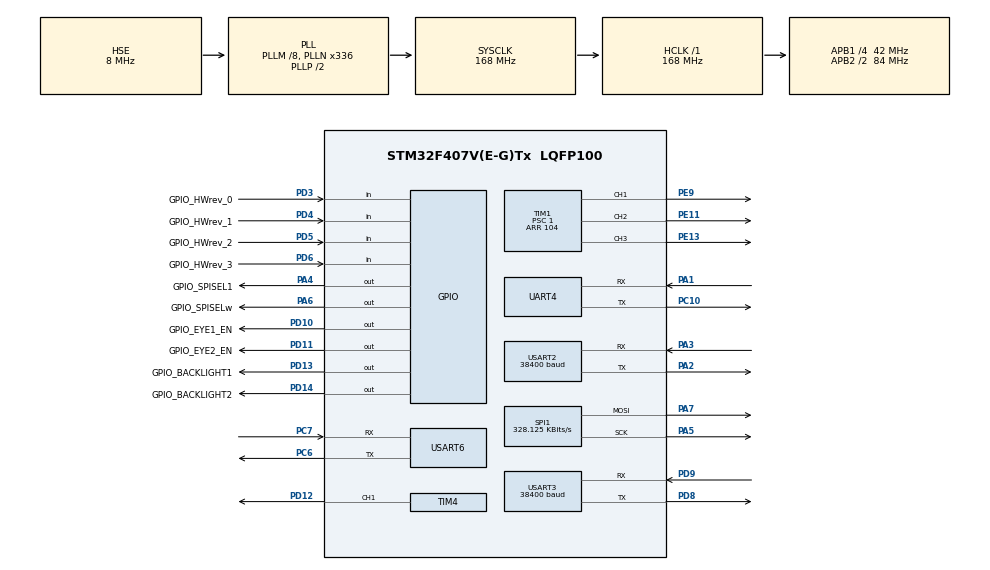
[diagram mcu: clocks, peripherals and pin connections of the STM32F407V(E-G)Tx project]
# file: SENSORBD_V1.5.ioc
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Dma.Request0=TIM1_CH1
Dma.Request1=TIM1_CH2
Dma.Request2=TIM1_CH3
Dma.TIM1_CH1.0.Direction=DMA_MEMORY_TO_PERIPH
Dma.TIM1_CH1.0.FIFOMode=DMA_FIFOMODE_DISABLE
Dma.TIM1_CH1.0.Instance=DMA2_Stream3
Dma.TIM1_CH1.0.MemDataAlignment=DMA_MDATAALIGN_HALFWORD
Dma.TIM1_CH1.0.MemInc=DMA_MINC_ENABLE
Dma.TIM1_CH1.0.Mode=DMA_NORMAL
Dma.TIM1_CH1.0.PeriphDataAlignment=DMA_PDATAALIGN_HALFWORD
Dma.TIM1_CH1.0.PeriphInc=DMA_PINC_DISABLE
Dma.TIM1_CH1.0.Priority=DMA_PRIORITY_LOW
Dma.TIM1_CH2.1.Direction=DMA_MEMORY_TO_PERIPH
Dma.TIM1_CH2.1.FIFOMode=DMA_FIFOMODE_DISABLE
Dma.TIM1_CH2.1.Instance=DMA2_Stream2
Dma.TIM1_CH2.1.MemDataAlignment=DMA_MDATAALIGN_HALFWORD
Dma.TIM1_CH2.1.MemInc=DMA_MINC_ENABLE
Dma.TIM1_CH2.1.Mode=DMA_NORMAL
Dma.TIM1_CH2.1.PeriphDataAlignment=DMA_PDATAALIGN_HALFWORD
Dma.TIM1_CH2.1.PeriphInc=DMA_PINC_DISABLE
Dma.TIM1_CH2.1.Priority=DMA_PRIORITY_LOW
Dma.TIM1_CH3.2.Direction=DMA_MEMORY_TO_PERIPH
Dma.TIM1_CH3.2.FIFOMode=DMA_FIFOMODE_DISABLE
Dma.TIM1_CH3.2.Instance=DMA2_Stream6
Dma.TIM1_CH3.2.MemDataAlignment=DMA_MDATAALIGN_HALFWORD
Dma.TIM1_CH3.2.MemInc=DMA_MINC_ENABLE
Dma.TIM1_CH3.2.Mode=DMA_NORMAL
Dma.TIM1_CH3.2.PeriphDataAlignment=DMA_PDATAALIGN_HALFWORD
Dma.TIM1_CH3.2.PeriphInc=DMA_PINC_DISABLE
Dma.TIM1_CH3.2.Priority=DMA_PRIORITY_LOW
FREERTOS.Queues01=queue_ultrasonic1,128,uint16_t,0,Dynamic,NULL,NULL;queue_ultrasonic2,128,uint16_t,0,Dynamic,NULL,NULL;queue_interfaceBD,1024,uint16_t,0,Dynamic,NULL,NULL;queue_debug_test,128,uint16_t,0,Dynamic,NULL,NULL
FREERTOS.Tasks01=apps_process,24,512,apps_process_task,As weak,NULL,Dynamic,NULL,NULL;apps_timer,32,512,apps_timer_task,As external,NULL,Dynamic,NULL,NULL;p_ultrasonic,9,256,p_ultrasonic_task,As external,NULL,Dynamic,NULL,NULL;p_interfaceBD,25,256,p_interfaceBD_task,As external,NULL,Dynamic,NULL,NULL;p_uart_test,8,256,p_uart_test_task,As external,NULL,Dynamic,NULL,NULL
FREERTOS.configENABLE_FPU=1
FREERTOS.configMINIMAL_STACK_SIZE=64
FREERTOS.configTOTAL_HEAP_SIZE=32768
FREERTOS.configUSE_NEWLIB_REENTRANT=1
FREERTOS.configUSE_STATS_FORMATTING_FUNCTIONS=1
Mcu.Family=STM32F4
Mcu.Name=STM32F407V(E-G)Tx
Mcu.Package=LQFP100
NVIC.DMA2_Stream2_IRQn=true\:5\:0\:false\:false\:true\:true\:false\:true\:true
NVIC.DMA2_Stream3_IRQn=true\:5\:0\:false\:false\:true\:true\:false\:true\:true
NVIC.DMA2_Stream6_IRQn=true\:5\:0\:false\:false\:true\:true\:false\:true\:true
NVIC.PriorityGroup=NVIC_PRIORITYGROUP_4
NVIC.TIM7_IRQn=true\:15\:0\:false\:false\:true\:false\:false\:true\:true
NVIC.TIM8_UP_TIM13_IRQn=true\:5\:0\:false\:false\:true\:true\:true\:true\:true
NVIC.TimeBase=TIM7_IRQn
NVIC.TimeBaseIP=TIM7
NVIC.UART4_IRQn=true\:5\:0\:false\:false\:true\:true\:true\:true\:true
NVIC.USART2_IRQn=true\:5\:0\:false\:false\:true\:true\:true\:true\:true
NVIC.USART3_IRQn=true\:5\:0\:false\:false\:true\:true\:true\:true\:true
NVIC.USART6_IRQn=true\:5\:0\:false\:false\:true\:true\:true\:true\:true
PA1.Mode=Asynchronous
PA1.Signal=UART4_RX
PA13.Mode=Trace_Asynchronous_SW
PA13.Signal=SYS_JTMS-SWDIO
PA14.Mode=Trace_Asynchronous_SW
PA14.Signal=SYS_JTCK-SWCLK
PA2.Mode=Asynchronous
PA2.Signal=USART2_TX
PA3.Mode=Asynchronous
PA3.Signal=USART2_RX
PA4.GPIO_Label=GPIO_SPISEL1
PA4.Signal=GPIO_Output
PA5.Mode=TX_Only_Simplex_Unidirect_Master
PA5.Signal=SPI1_SCK
PA6.GPIO_Label=GPIO_SPISELw
PA6.Signal=GPIO_Output
PA7.Mode=TX_Only_Simplex_Unidirect_Master
PA7.Signal=SPI1_MOSI
PB3.Mode=Trace_Asynchronous_SW
PB3.Signal=SYS_JTDO-SWO
PC10.Mode=Asynchronous
PC10.Signal=UART4_TX
PC6.Mode=Asynchronous
PC6.Signal=USART6_TX
PC7.Mode=Asynchronous
PC7.Signal=USART6_RX
PD10.GPIO_Label=GPIO_EYE1_EN
PD10.Signal=GPIO_Output
PD11.GPIO_Label=GPIO_EYE2_EN
PD11.Signal=GPIO_Output
PD12.Signal=S_TIM4_CH1
PD13.GPIO_Label=GPIO_BACKLIGHT1
PD13.Signal=GPIO_Output
PD14.GPIO_Label=GPIO_BACKLIGHT2
PD14.Signal=GPIO_Output
PD3.GPIO_Label=GPIO_HWrev_0
PD3.Signal=GPIO_Input
PD4.GPIO_Label=GPIO_HWrev_1
PD4.Signal=GPIO_Input
PD5.GPIO_Label=GPIO_HWrev_2
PD5.Signal=GPIO_Input
PD6.GPIO_Label=GPIO_HWrev_3
PD6.Signal=GPIO_Input
PD8.Mode=Asynchronous
PD8.Signal=USART3_TX
PD9.Mode=Asynchronous
PD9.Signal=USART3_RX
PE11.Signal=S_TIM1_CH2
PE13.Signal=S_TIM1_CH3
PE9.Signal=S_TIM1_CH1
PH0-OSC_IN.Mode=HSE-External-Oscillator
PH0-OSC_IN.Signal=RCC_OSC_IN
PH1-OSC_OUT.Mode=HSE-External-Oscillator
PH1-OSC_OUT.Signal=RCC_OSC_OUT
ProjectManager.HeapSize=0x200
ProjectManager.StackSize=0x400
ProjectManager.TargetToolchain=STM32CubeIDE
RCC.48MHZClocksFreq_Value=84000000
RCC.AHBFreq_Value=168000000
RCC.APB1CLKDivider=RCC_HCLK_DIV4
RCC.APB1Freq_Value=42000000
RCC.APB1TimFreq_Value=84000000
RCC.APB2CLKDivider=RCC_HCLK_DIV2
RCC.APB2Freq_Value=84000000
RCC.APB2TimFreq_Value=168000000
RCC.CortexFreq_Value=168000000
RCC.HCLKFreq_Value=168000000
RCC.HSE_VALUE=8000000
RCC.HSI_VALUE=16000000
RCC.LSE_VALUE=32768
RCC.PLLM=8
RCC.PLLN=336
RCC.PLLSourceVirtual=RCC_PLLSOURCE_HSE
RCC.SYSCLKFreq_VALUE=168000000
RCC.SYSCLKSource=RCC_SYSCLKSOURCE_PLLCLK
RCC.VCOOutputFreq_Value=336000000
SH.S_TIM1_CH1.0=TIM1_CH1,PWM Generation1 CH1
SH.S_TIM1_CH2.0=TIM1_CH2,PWM Generation2 CH2
SH.S_TIM1_CH3.0=TIM1_CH3,PWM Generation3 CH3
SH.S_TIM4_CH1.0=TIM4_CH1,PWM Generation1 CH1
SPI1.BaudRatePrescaler=SPI_BAUDRATEPRESCALER_256
SPI1.CalculateBaudRate=328.125 KBits/s
SPI1.Direction=SPI_DIRECTION_2LINES
SPI1.Mode=SPI_MODE_MASTER
SPI1.VirtualType=VM_MASTER
TIM1.Channel-PWM\ Generation1\ CH1=TIM_CHANNEL_1
TIM1.Channel-PWM\ Generation2\ CH2=TIM_CHANNEL_2
TIM1.Channel-PWM\ Generation3\ CH3=TIM_CHANNEL_3
TIM1.Period=104
TIM1.Prescaler=1
TIM13.Period=999
TIM13.Prescaler=83
TIM4.Channel-PWM\ Generation1\ CH1=TIM_CHANNEL_1
TIM4.Period=255
TIM4.Prescaler=327
TIM4.Pulse-PWM\ Generation1\ CH1=250
UART4.VirtualMode=Asynchronous
USART2.BaudRate=38400
USART2.VirtualMode=VM_ASYNC
USART3.BaudRate=38400
USART3.VirtualMode=VM_ASYNC
USART6.VirtualMode=VM_ASYNC
VP_FREERTOS_VS_CMSIS_V2.Mode=CMSIS_V2
VP_SYS_VS_tim7.Mode=TIM7
VP_TIM13_VS_ClockSourceINT.Mode=Enable_Timer
board=custom

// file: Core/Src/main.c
/* USER CODE BEGIN Header */
/**
  ******************************************************************************
  * @file           : main.c
  * @brief          : Main program body
  ******************************************************************************
  * @attention
  *
  * Copyright (c) 2022 STMicroelectronics.
  * All rights reserved.
  *
  * This software is licensed under terms that can be found in the LICENSE file
  * in the root directory of this software component.
  * If no LICENSE file comes with this software, it is provided AS-IS.
  *
  ******************************************************************************
  */
/* USER CODE END Header */
#include "main.h"
#include "cmsis_os.h"

/* USER CODE BEGIN Includes */
#include "app_sensorboard.h"
#include <stdio.h>

/* USER CODE END Includes */

 SPI_HandleTypeDef hspi1;

TIM_HandleTypeDef htim1;
TIM_HandleTypeDef htim4;
TIM_HandleTypeDef htim13;
DMA_HandleTypeDef hdma_tim1_ch1;
DMA_HandleTypeDef hdma_tim1_ch2;
DMA_HandleTypeDef hdma_tim1_ch3;

UART_HandleTypeDef huart4;
UART_HandleTypeDef huart2;
UART_HandleTypeDef huart3;
UART_HandleTypeDef huart6;

/* Definitions for apps_process */
osThreadId_t apps_processHandle;
const osThreadAttr_t apps_process_attributes = {
  .name = "apps_process",
  .stack_size = 512 * 4,
  .priority = (osPriority_t) osPriorityNormal,
};
/* Definitions for apps_timer */
osThreadId_t apps_timerHandle;
const osThreadAttr_t apps_timer_attributes = {
  .name = "apps_timer",
  .stack_size = 512 * 4,
  .priority = (osPriority_t) osPriorityAboveNormal,
};
/* Definitions for p_ultrasonic */
osThreadId_t p_ultrasonicHandle;
const osThreadAttr_t p_ultrasonic_attributes = {
  .name = "p_ultrasonic",
  .stack_size = 256 * 4,
  .priority = (osPriority_t) osPriorityLow1,
};
/* Definitions for p_interfaceBD */
osThreadId_t p_interfaceBDHandle;
const osThreadAttr_t p_interfaceBD_attributes = {
  .name = "p_interfaceBD",
  .stack_size = 256 * 4,
  .priority = (osPriority_t) osPriorityNormal1,
};
/* Definitions for p_uart_test */
osThreadId_t p_uart_testHandle;
const osThreadAttr_t p_uart_test_attributes = {
  .name = "p_uart_test",
  .stack_size = 256 * 4,
  .priority = (osPriority_t) osPriorityLow,
};
/* Definitions for queue_ultrasonic1 */
osMessageQueueId_t queue_ultrasonic1Handle;
const osMessageQueueAttr_t queue_ultrasonic1_attributes = {
  .name = "queue_ultrasonic1"
};
/* Definitions for queue_ultrasonic2 */
osMessageQueueId_t queue_ultrasonic2Handle;
const osMessageQueueAttr_t queue_ultrasonic2_attributes = {
  .name = "queue_ultrasonic2"
};
/* Definitions for queue_interfaceBD */
osMessageQueueId_t queue_interfaceBDHandle;
const osMessageQueueAttr_t queue_interfaceBD_attributes = {
  .name = "queue_interfaceBD"
};
/* Definitions for queue_debug_test */
osMessageQueueId_t queue_debug_testHandle;
const osMessageQueueAttr_t queue_debug_test_attributes = {
  .name = "queue_debug_test"
};
/* USER CODE BEGIN PV */
extern void timers_process_tick_interrupt_timer(uint32_t param1);
extern void timers_tick_timer(void);

/* USER CODE END PV */

void SystemClock_Config(void);
static void MX_GPIO_Init(void);
static void MX_SPI1_Init(void);
static void MX_TIM1_Init(void);
static void MX_TIM4_Init(void);
static void MX_UART4_Init(void);
static void MX_USART2_UART_Init(void);
static void MX_USART3_UART_Init(void);
static void MX_DMA_Init(void);
static void MX_USART6_UART_Init(void);
static void MX_TIM13_Init(void);
void apps_process_task(void *argument);
extern void apps_timer_task(void *argument);
extern void p_ultrasonic_task(void *argument);
extern void p_interfaceBD_task(void *argument);
extern void p_uart_test_task(void *argument);

/* USER CODE BEGIN 0 */
int _write(int file, char *data, int len)
{
	HAL_StatusTypeDef status = HAL_UART_Transmit(&huart6, (uint8_t*)data, len, 1000);
	return (status == HAL_OK ? len : 0);
}

void DWT_Delay_us(volatile uint32_t microseconds)
{
	microseconds *= (SystemCoreClock / 7000000);
	while (microseconds--);
//  uint32_t au32_initial_ticks = DWT->CYCCNT;
//  uint32_t au32_ticks = (HAL_RCC_GetHCLKFreq() / 1000000);
//  au32_microseconds *= au32_ticks;
//  while ((DWT->CYCCNT - au32_initial_ticks) < au32_microseconds-au32_ticks);
}
void HAL_TIM_PWM_PulseFinishedCallback(TIM_HandleTypeDef *htim)
{
	if (htim->Instance==TIM1 && htim->Channel==HAL_TIM_ACTIVE_CHANNEL_1)
	{
		HAL_TIM_PWM_Stop_DMA(&htim1, TIM_CHANNEL_1);
		gv.beltdatasentflag=1;
	}
	if (htim->Instance==TIM1 && htim->Channel==HAL_TIM_ACTIVE_CHANNEL_2)
	{
		HAL_TIM_PWM_Stop_DMA(&htim1, TIM_CHANNEL_2);
		gv.ring1datasentflag=1;
	}
	if (htim->Instance==TIM1 && htim->Channel==HAL_TIM_ACTIVE_CHANNEL_3)
	{
		HAL_TIM_PWM_Stop_DMA(&htim1, TIM_CHANNEL_3);
		gv.ring2datasentflag=1;
	}

}
/* USER CODE END 0 */

int main(void)
{

  /* MCU Configuration--------------------------------------------------------*/

  /* Reset of all peripherals, Initializes the Flash interface and the Systick. */
  HAL_Init();

  /* Configure the system clock */
  SystemClock_Config();

  /* USER CODE BEGIN SysInit */
  MX_DMA_Init(); // must init here

  /* USER CODE END SysInit */

  /* Initialize all configured peripherals */
  MX_GPIO_Init();
  MX_SPI1_Init();
  MX_TIM1_Init();
  MX_TIM4_Init();
  MX_UART4_Init();
  MX_USART2_UART_Init();
  MX_USART3_UART_Init();
  MX_DMA_Init();
  MX_USART6_UART_Init();
  MX_TIM13_Init();
  /* USER CODE BEGIN 2 */
  printf("\r\n\r\n\r\n\r\n\r\n\r\n");
  printf("****************************************\r\n");
  printf("*  NEUBILITY 1.5  %s / %s *\r\n", FW_VERSION,FW_DATE);
  printf("****************************************\r\n\r\n");
  /* USER CODE END 2 */

  /* Init scheduler */
  osKernelInitialize();

  /* Create the queue(s) */
  /* creation of queue_ultrasonic1 */
  queue_ultrasonic1Handle = osMessageQueueNew (128, sizeof(uint16_t), &queue_ultrasonic1_attributes);

  /* creation of queue_ultrasonic2 */
  queue_ultrasonic2Handle = osMessageQueueNew (128, sizeof(uint16_t), &queue_ultrasonic2_attributes);

  /* creation of queue_interfaceBD */
  queue_interfaceBDHandle = osMessageQueueNew (1024, sizeof(uint16_t), &queue_interfaceBD_attributes);

  /* creation of queue_debug_test */
  queue_debug_testHandle = osMessageQueueNew (128, sizeof(uint16_t), &queue_debug_test_attributes);

  /* Create the thread(s) */
  /* creation of apps_process */
  apps_processHandle = osThreadNew(apps_process_task, NULL, &apps_process_attributes);

  /* creation of apps_timer */
  apps_timerHandle = osThreadNew(apps_timer_task, NULL, &apps_timer_attributes);

  /* creation of p_ultrasonic */
  p_ultrasonicHandle = osThreadNew(p_ultrasonic_task, NULL, &p_ultrasonic_attributes);

  /* creation of p_interfaceBD */
  p_interfaceBDHandle = osThreadNew(p_interfaceBD_task, NULL, &p_interfaceBD_attributes);

  /* creation of p_uart_test */
  p_uart_testHandle = osThreadNew(p_uart_test_task, NULL, &p_uart_test_attributes);

  /* Start scheduler */
  osKernelStart();

  /* We should never get here as control is now taken by the scheduler */
  /* Infinite loop */
  while (1)
  {

  }
}

void SystemClock_Config(void)
{
  RCC_OscInitTypeDef RCC_OscInitStruct = {0};
  RCC_ClkInitTypeDef RCC_ClkInitStruct = {0};

  /** Configure the main internal regulator output voltage
  */
  __HAL_RCC_PWR_CLK_ENABLE();
  __HAL_PWR_VOLTAGESCALING_CONFIG(PWR_REGULATOR_VOLTAGE_SCALE1);

  /** Initializes the RCC Oscillators according to the specified parameters
  * in the RCC_OscInitTypeDef structure.
  */
  RCC_OscInitStruct.OscillatorType = RCC_OSCILLATORTYPE_HSE;
  RCC_OscInitStruct.HSEState = RCC_HSE_ON;
  RCC_OscInitStruct.PLL.PLLState = RCC_PLL_ON;
  RCC_OscInitStruct.PLL.PLLSource = RCC_PLLSOURCE_HSE;
  RCC_OscInitStruct.PLL.PLLM = 8;
  RCC_OscInitStruct.PLL.PLLN = 336;
  RCC_OscInitStruct.PLL.PLLP = RCC_PLLP_DIV2;
  RCC_OscInitStruct.PLL.PLLQ = 4;
  if (HAL_RCC_OscConfig(&RCC_OscInitStruct) != HAL_OK)
  {
    Error_Handler();
  }

  /** Initializes the CPU, AHB and APB buses clocks
  */
  RCC_ClkInitStruct.ClockType = RCC_CLOCKTYPE_HCLK|RCC_CLOCKTYPE_SYSCLK
                              |RCC_CLOCKTYPE_PCLK1|RCC_CLOCKTYPE_PCLK2;
  RCC_ClkInitStruct.SYSCLKSource = RCC_SYSCLKSOURCE_PLLCLK;
  RCC_ClkInitStruct.AHBCLKDivider = RCC_SYSCLK_DIV1;
  RCC_ClkInitStruct.APB1CLKDivider = RCC_HCLK_DIV4;
  RCC_ClkInitStruct.APB2CLKDivider = RCC_HCLK_DIV2;

  if (HAL_RCC_ClockConfig(&RCC_ClkInitStruct, FLASH_LATENCY_5) != HAL_OK)
  {
    Error_Handler();
  }
}

static void MX_SPI1_Init(void)
{

  /* SPI1 parameter configuration*/
  hspi1.Instance = SPI1;
  hspi1.Init.Mode = SPI_MODE_MASTER;
  hspi1.Init.Direction = SPI_DIRECTION_2LINES;
  hspi1.Init.DataSize = SPI_DATASIZE_8BIT;
  hspi1.Init.CLKPolarity = SPI_POLARITY_LOW;
  hspi1.Init.CLKPhase = SPI_PHASE_1EDGE;
  hspi1.Init.NSS = SPI_NSS_SOFT;
  hspi1.Init.BaudRatePrescaler = SPI_BAUDRATEPRESCALER_256;
  hspi1.Init.FirstBit = SPI_FIRSTBIT_MSB;
  hspi1.Init.TIMode = SPI_TIMODE_DISABLE;
  hspi1.Init.CRCCalculation = SPI_CRCCALCULATION_DISABLE;
  hspi1.Init.CRCPolynomial = 10;
  if (HAL_SPI_Init(&hspi1) != HAL_OK)
  {
    Error_Handler();
  }

}

static void MX_TIM1_Init(void)
{

  TIM_MasterConfigTypeDef sMasterConfig = {0};
  TIM_OC_InitTypeDef sConfigOC = {0};
  TIM_BreakDeadTimeConfigTypeDef sBreakDeadTimeConfig = {0};

  htim1.Instance = TIM1;
  htim1.Init.Prescaler = 1;
  htim1.Init.CounterMode = TIM_COUNTERMODE_UP;
  htim1.Init.Period = 104;
  htim1.Init.ClockDivision = TIM_CLOCKDIVISION_DIV1;
  htim1.Init.RepetitionCounter = 0;
  htim1.Init.AutoReloadPreload = TIM_AUTORELOAD_PRELOAD_DISABLE;
  if (HAL_TIM_PWM_Init(&htim1) != HAL_OK)
  {
    Error_Handler();
  }
  sMasterConfig.MasterOutputTrigger = TIM_TRGO_RESET;
  sMasterConfig.MasterSlaveMode = TIM_MASTERSLAVEMODE_DISABLE;
  if (HAL_TIMEx_MasterConfigSynchronization(&htim1, &sMasterConfig) != HAL_OK)
  {
    Error_Handler();
  }
  sConfigOC.OCMode = TIM_OCMODE_PWM1;
  sConfigOC.Pulse = 0;
  sConfigOC.OCPolarity = TIM_OCPOLARITY_HIGH;
  sConfigOC.OCNPolarity = TIM_OCNPOLARITY_HIGH;
  sConfigOC.OCFastMode = TIM_OCFAST_DISABLE;
  sConfigOC.OCIdleState = TIM_OCIDLESTATE_RESET;
  sConfigOC.OCNIdleState = TIM_OCNIDLESTATE_RESET;
  if (HAL_TIM_PWM_ConfigChannel(&htim1, &sConfigOC, TIM_CHANNEL_1) != HAL_OK)
  {
    Error_Handler();
  }
  if (HAL_TIM_PWM_ConfigChannel(&htim1, &sConfigOC, TIM_CHANNEL_2) != HAL_OK)
  {
    Error_Handler();
  }
  if (HAL_TIM_PWM_ConfigChannel(&htim1, &sConfigOC, TIM_CHANNEL_3) != HAL_OK)
  {
    Error_Handler();
  }
  sBreakDeadTimeConfig.OffStateRunMode = TIM_OSSR_DISABLE;
  sBreakDeadTimeConfig.OffStateIDLEMode = TIM_OSSI_DISABLE;
  sBreakDeadTimeConfig.LockLevel = TIM_LOCKLEVEL_OFF;
  sBreakDeadTimeConfig.DeadTime = 0;
  sBreakDeadTimeConfig.BreakState = TIM_BREAK_DISABLE;
  sBreakDeadTimeConfig.BreakPolarity = TIM_BREAKPOLARITY_HIGH;
  sBreakDeadTimeConfig.AutomaticOutput = TIM_AUTOMATICOUTPUT_DISABLE;
  if (HAL_TIMEx_ConfigBreakDeadTime(&htim1, &sBreakDeadTimeConfig) != HAL_OK)
  {
    Error_Handler();
  }
  HAL_TIM_MspPostInit(&htim1);

}

static void MX_TIM4_Init(void)
{

  TIM_MasterConfigTypeDef sMasterConfig = {0};
  TIM_OC_InitTypeDef sConfigOC = {0};

  htim4.Instance = TIM4;
  htim4.Init.Prescaler = 327;
  htim4.Init.CounterMode = TIM_COUNTERMODE_UP;
  htim4.Init.Period = 255;
  htim4.Init.ClockDivision = TIM_CLOCKDIVISION_DIV1;
  htim4.Init.AutoReloadPreload = TIM_AUTORELOAD_PRELOAD_DISABLE;
  if (HAL_TIM_PWM_Init(&htim4) != HAL_OK)
  {
    Error_Handler();
  }
  sMasterConfig.MasterOutputTrigger = TIM_TRGO_RESET;
  sMasterConfig.MasterSlaveMode = TIM_MASTERSLAVEMODE_DISABLE;
  if (HAL_TIMEx_MasterConfigSynchronization(&htim4, &sMasterConfig) != HAL_OK)
  {
    Error_Handler();
  }
  sConfigOC.OCMode = TIM_OCMODE_PWM1;
  sConfigOC.Pulse = 250;
  sConfigOC.OCPolarity = TIM_OCPOLARITY_HIGH;
  sConfigOC.OCFastMode = TIM_OCFAST_DISABLE;
  if (HAL_TIM_PWM_ConfigChannel(&htim4, &sConfigOC, TIM_CHANNEL_1) != HAL_OK)
  {
    Error_Handler();
  }
  HAL_TIM_MspPostInit(&htim4);

}

static void MX_TIM13_Init(void)
{

  htim13.Instance = TIM13;
  htim13.Init.Prescaler = 83;
  htim13.Init.CounterMode = TIM_COUNTERMODE_UP;
  htim13.Init.Period = 999;
  htim13.Init.ClockDivision = TIM_CLOCKDIVISION_DIV1;
  htim13.Init.AutoReloadPreload = TIM_AUTORELOAD_PRELOAD_DISABLE;
  if (HAL_TIM_Base_Init(&htim13) != HAL_OK)
  {
    Error_Handler();
  }

}

static void MX_UART4_Init(void)
{

  huart4.Instance = UART4;
  huart4.Init.BaudRate = 115200;
  huart4.Init.WordLength = UART_WORDLENGTH_8B;
  huart4.Init.StopBits = UART_STOPBITS_1;
  huart4.Init.Parity = UART_PARITY_NONE;
  huart4.Init.Mode = UART_MODE_TX_RX;
  huart4.Init.HwFlowCtl = UART_HWCONTROL_NONE;
  huart4.Init.OverSampling = UART_OVERSAMPLING_16;
  if (HAL_UART_Init(&huart4) != HAL_OK)
  {
    Error_Handler();
  }

}

static void MX_USART2_UART_Init(void)
{

  huart2.Instance = USART2;
  huart2.Init.BaudRate = 38400;
  huart2.Init.WordLength = UART_WORDLENGTH_8B;
  huart2.Init.StopBits = UART_STOPBITS_1;
  huart2.Init.Parity = UART_PARITY_NONE;
  huart2.Init.Mode = UART_MODE_TX_RX;
  huart2.Init.HwFlowCtl = UART_HWCONTROL_NONE;
  huart2.Init.OverSampling = UART_OVERSAMPLING_16;
  if (HAL_UART_Init(&huart2) != HAL_OK)
  {
    Error_Handler();
  }

}

static void MX_USART3_UART_Init(void)
{

  huart3.Instance = USART3;
  huart3.Init.BaudRate = 38400;
  huart3.Init.WordLength = UART_WORDLENGTH_8B;
  huart3.Init.StopBits = UART_STOPBITS_1;
  huart3.Init.Parity = UART_PARITY_NONE;
  huart3.Init.Mode = UART_MODE_TX_RX;
  huart3.Init.HwFlowCtl = UART_HWCONTROL_NONE;
  huart3.Init.OverSampling = UART_OVERSAMPLING_16;
  if (HAL_UART_Init(&huart3) != HAL_OK)
  {
    Error_Handler();
  }

}

static void MX_USART6_UART_Init(void)
{

  huart6.Instance = USART6;
  huart6.Init.BaudRate = 115200;
  huart6.Init.WordLength = UART_WORDLENGTH_8B;
  huart6.Init.StopBits = UART_STOPBITS_1;
  huart6.Init.Parity = UART_PARITY_NONE;
  huart6.Init.Mode = UART_MODE_TX_RX;
  huart6.Init.HwFlowCtl = UART_HWCONTROL_NONE;
  huart6.Init.OverSampling = UART_OVERSAMPLING_16;
  if (HAL_UART_Init(&huart6) != HAL_OK)
  {
    Error_Handler();
  }

}

static void MX_DMA_Init(void)
{

  /* DMA controller clock enable */
  __HAL_RCC_DMA2_CLK_ENABLE();

  /* DMA interrupt init */
  /* DMA2_Stream2_IRQn interrupt configuration */
  HAL_NVIC_SetPriority(DMA2_Stream2_IRQn, 5, 0);
  HAL_NVIC_EnableIRQ(DMA2_Stream2_IRQn);
  /* DMA2_Stream3_IRQn interrupt configuration */
  HAL_NVIC_SetPriority(DMA2_Stream3_IRQn, 5, 0);
  HAL_NVIC_EnableIRQ(DMA2_Stream3_IRQn);
  /* DMA2_Stream6_IRQn interrupt configuration */
  HAL_NVIC_SetPriority(DMA2_Stream6_IRQn, 5, 0);
  HAL_NVIC_EnableIRQ(DMA2_Stream6_IRQn);

}

static void MX_GPIO_Init(void)
{
  GPIO_InitTypeDef GPIO_InitStruct = {0};

  /* GPIO Ports Clock Enable */
  __HAL_RCC_GPIOH_CLK_ENABLE();
  __HAL_RCC_GPIOA_CLK_ENABLE();
  __HAL_RCC_GPIOE_CLK_ENABLE();
  __HAL_RCC_GPIOD_CLK_ENABLE();
  __HAL_RCC_GPIOC_CLK_ENABLE();
  __HAL_RCC_GPIOB_CLK_ENABLE();

  /*Configure GPIO pin Output Level */
  HAL_GPIO_WritePin(GPIOA, GPIO_SPISEL1_Pin|GPIO_SPISELw_Pin, GPIO_PIN_RESET);

  /*Configure GPIO pin Output Level */
  HAL_GPIO_WritePin(GPIOD, GPIO_EYE1_EN_Pin|GPIO_EYE2_EN_Pin|GPIO_BACKLIGHT1_Pin|GPIO_BACKLIGHT2_Pin, GPIO_PIN_RESET);

  /*Configure GPIO pins : GPIO_SPISEL1_Pin GPIO_SPISELw_Pin */
  GPIO_InitStruct.Pin = GPIO_SPISEL1_Pin|GPIO_SPISELw_Pin;
  GPIO_InitStruct.Mode = GPIO_MODE_OUTPUT_PP;
  GPIO_InitStruct.Pull = GPIO_NOPULL;
  GPIO_InitStruct.Speed = GPIO_SPEED_FREQ_LOW;
  HAL_GPIO_Init(GPIOA, &GPIO_InitStruct);

  /*Configure GPIO pins : GPIO_EYE1_EN_Pin GPIO_EYE2_EN_Pin GPIO_BACKLIGHT1_Pin GPIO_BACKLIGHT2_Pin */
  GPIO_InitStruct.Pin = GPIO_EYE1_EN_Pin|GPIO_EYE2_EN_Pin|GPIO_BACKLIGHT1_Pin|GPIO_BACKLIGHT2_Pin;
  GPIO_InitStruct.Mode = GPIO_MODE_OUTPUT_PP;
  GPIO_InitStruct.Pull = GPIO_NOPULL;
  GPIO_InitStruct.Speed = GPIO_SPEED_FREQ_LOW;
  HAL_GPIO_Init(GPIOD, &GPIO_InitStruct);

  /*Configure GPIO pins : GPIO_HWrev_0_Pin GPIO_HWrev_1_Pin GPIO_HWrev_2_Pin GPIO_HWrev_3_Pin */
  GPIO_InitStruct.Pin = GPIO_HWrev_0_Pin|GPIO_HWrev_1_Pin|GPIO_HWrev_2_Pin|GPIO_HWrev_3_Pin;
  GPIO_InitStruct.Mode = GPIO_MODE_INPUT;
  GPIO_InitStruct.Pull = GPIO_NOPULL;
  HAL_GPIO_Init(GPIOD, &GPIO_InitStruct);

}

__weak void apps_process_task(void *argument)
{
  for(;;)
  {
    osDelay(1);
  }
}

void HAL_TIM_PeriodElapsedCallback(TIM_HandleTypeDef *htim)
{
  /* USER CODE BEGIN Callback 0 */
	if (htim->Instance == TIM13)
	{
		timers_process_tick_interrupt_timer(0);
		timers_tick_timer();
	}
  /* USER CODE END Callback 0 */
  if (htim->Instance == TIM7) {
    HAL_IncTick();
  }
}

void Error_Handler(void)
{
  __disable_irq();
  while (1)
  {
  }
}
